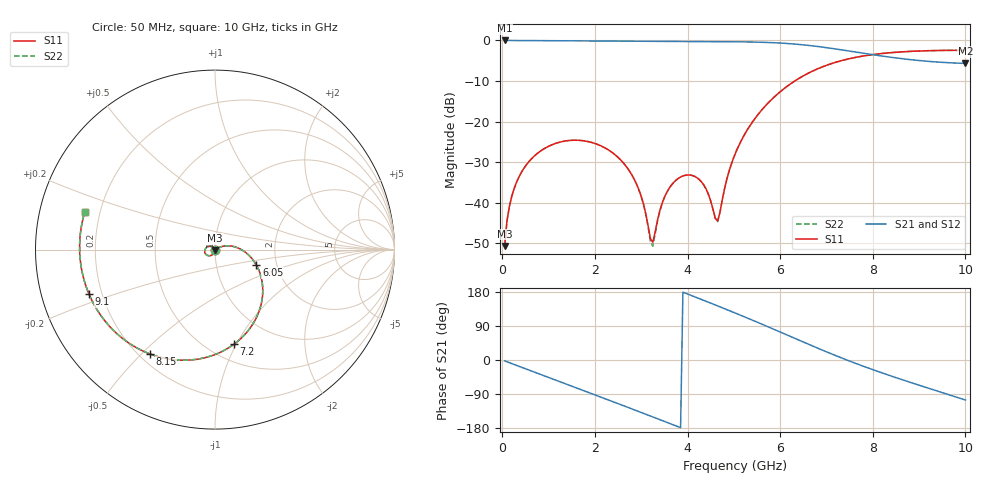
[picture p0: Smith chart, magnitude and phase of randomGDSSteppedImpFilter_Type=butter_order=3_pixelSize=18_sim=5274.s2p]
! freq	dB(S11)	phase(S11)	dB(S12)	phase(S12)
!  dB(S21)	phase(S21)	dB(S22)	phase(S22)
!S-par simulation data
#  GHz  S  DB  R 50
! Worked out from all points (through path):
!   200 points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, 50 MHz to 10 GHz, reference 50 ohm
!   highest |S21| = -0.01 dB at 50 MHz (marker M1); lowest = -5.7 dB at 10 GHz (marker M2)
!   group delay of S21, straight-line fit = 133 ps
!   lowest |S11| = -50.7 dB at 50 MHz (marker M3), VSWR 1.01, Z = 50 - j0.293 ohm
!   |S11| at or under -10 dB: start of sweep to 6.316 GHz
!   |S22| runs from -50.7 to -2.4 dB; largest |S21 - S12| = 0
!   S11 on the Smith chart (normalised r, x): 50 MHz: 1.00, -0.01; 6.05 GHz: 1.57, -0.29; 7.2 GHz: 0.66, -0.98; 8.15 GHz: 0.24, -0.53; 9.1 GHz: 0.15, -0.17; 10 GHz: 0.14, +0.14
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0.05  -50.65 -86.8  -0.01 -2.3  -0.01 -2.3  -50.65 -86.8
0.1  -44.61 -91.9  -0.01 -4.7  -0.01 -4.7  -44.61 -91.9
0.2  -38.63 -98.1  -0.02 -9.3  -0.02 -9.3  -38.63 -98.0
0.5  -30.97 -113.1  -0.03 -23.1  -0.03 -23.1  -30.97 -113.0
1.05  -25.83 -139.3  -0.07 -48.3  -0.07 -48.3  -25.83 -139.2
1.75  -24.73 -172.5  -0.11 -80.4  -0.11 -80.4  -24.73 -172.3
2.75  -32.26 136.8  -0.15 -126.8  -0.15 -126.8  -32.27 137.5
3  -38.45 117.4  -0.17 -138.5  -0.17 -138.5  -38.50 119.1
3.25  -49.75 19.2  -0.18 -150.2  -0.18 -150.2  -50.72 18.1
3.4  -42.01 -42.1  -0.20 -157.3  -0.20 -157.3  -42.17 -44.5
3.65  -35.68 -65.9  -0.22 -169.1  -0.22 -169.1  -35.72 -67.0
4.05  -33.18 -86.2  -0.25 171.8  -0.25 171.8  -33.19 -86.9
4.35  -35.61 -94.3  -0.27 157.4  -0.27 157.4  -35.63 -94.9
4.65  -44.54 -30.0  -0.29 142.8  -0.29 142.8  -44.65 -30.1
5.05  -27.38 24.0  -0.33 123.0  -0.33 123.0  -27.38 23.8
6.05  -12.19 -20.4  -0.68 71.2  -0.68 71.2  -12.19 -20.6
6.7  -7.56 -53.7  -1.34 36.9  -1.34 36.9  -7.56 -53.9
7.2  -5.38 -78.7  -2.10 11.6  -2.10 11.6  -5.38 -78.9
8.15  -3.28 -122.0  -3.77 -32.0  -3.77 -32.0  -3.28 -122.1
8.35  -3.05 -130.4  -4.09 -40.4  -4.09 -40.4  -3.05 -130.5
9.1  -2.56 -160.5  -5.06 -70.5  -5.06 -70.5  -2.56 -160.6
10  -2.44 164.0  -5.66 -105.6  -5.66 -105.6  -2.44 163.8
